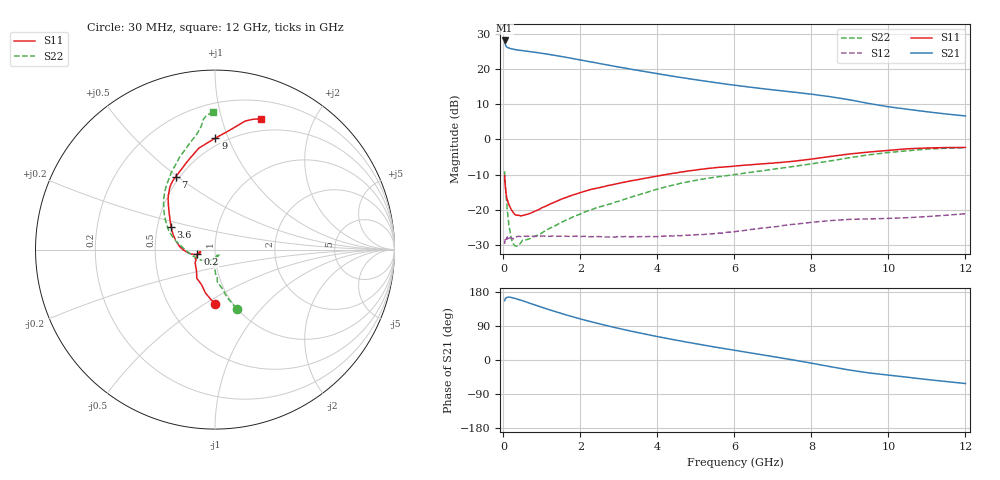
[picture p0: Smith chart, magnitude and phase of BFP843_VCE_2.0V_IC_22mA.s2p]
! Infineon Technologies  Discrete & RF Semiconductors
! BFP843
! VCE =  2.0 V,  IC =  22 mA
! Common Emitter S-Parameters:  Aug 2013
# GHz  S  MA  R  50
!  f  S11  S21  S12  S22
! GHz  MAG  ANG  MAG  ANG  MAG  ANG  MAG  ANG
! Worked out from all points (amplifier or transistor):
!   103 points, 30 MHz to 12 GHz, reference 50 ohm
!   highest |S21| = 28.2 dB at 30 MHz (marker M1)
!   |S21| within 3 dB of that: start of sweep to 567.9 MHz
!   unconditionally stable (mu >= 1): 106.3 MHz to 10.73 GHz
!   at 400 MHz: K = 1.02, MAG = 25.6 dB, |S12| = -27.6 dB
!   at 3.7 GHz: K = 1.38, MAG = 19.9 dB, |S12| = -27.7 dB
!   at 12 GHz: K = 0.85, MSG = 13.9 dB, |S12| = -21.2 dB
!   S11 on the Smith chart (normalised r, x): 30 MHz: 0.83, -0.56; 200 MHz: 0.82, -0.04; 3.6 GHz: 0.59, +0.16; 7 GHz: 0.48, +0.49; 9 GHz: 0.44, +0.90; 12 GHz: 0.38, +1.34
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0.03  0.3041 -90.2  25.79 156.7  0.0323 27.7  0.351 -70.0
0.04  0.2474 -102.4  23.66 158.8  0.0368 22.1  0.2717 -76.0
0.05  0.2091 -111.1  22.55 161.8  0.0374 21.3  0.22 -79.5
0.07  0.1667 -127.9  21.22 164.1  0.0389 12.2  0.1523 -85.4
0.1  0.1357 -143.6  20.55 165.6  0.0407 12.9  0.0941 -92.8
0.13  0.1204 -151.3  20.26 166.1  0.039 8.3  0.0697 -91.8
0.2  0.101 -165.8  19.61 165.1  0.0397 8.6  0.0389 -80.6
0.8  0.0941 -164.9  17.55 145.9  0.0415 3.0  0.0416 -68.6
1.2  0.1192 -166.8  16.25 132.4  0.0416 0.8  0.0541 -98.5
1.6  0.1472 -172.5  14.92 119.9  0.0418 0.9  0.0698 -118.7
2.1  0.1818 179.1  13.27 105.6  0.0417 0.6  0.092 -139.4
2.5  0.2062 172.2  12.08 95.3  0.0413 0.3  0.1093 -152.0
2.9  0.2308 165.1  11.02 85.6  0.0405 0.9  0.1275 -163.6
3.6  0.2745 152.9  9.43 70.1  0.0412 2.6  0.1683 179.8
4.1  0.3075 144.9  8.481 59.9  0.0417 4.3  0.2024 171.0
5  0.3672 135.1  7.094 42.9  0.0438 7.7  0.2615 160.6
6.1  0.4213 127.1  5.845 24.0  0.0493 10.6  0.3215 149.3
7  0.4596 118.4  5.092 9.0  0.0566 10.3  0.3759 139.6
8.5  0.5727 99.0  4.061 -17.7  0.0697 2.7  0.4951 119.3
9  0.6215 89.8  3.668 -26.7  0.0726 -1.2  0.5501 111.1
10.5  0.7366 76.7  2.692 -45.6  0.0767 -8.1  0.69 96.4
12  0.7686 70.6  2.162 -62.1  0.0873 -15.1  0.7645 91.0
